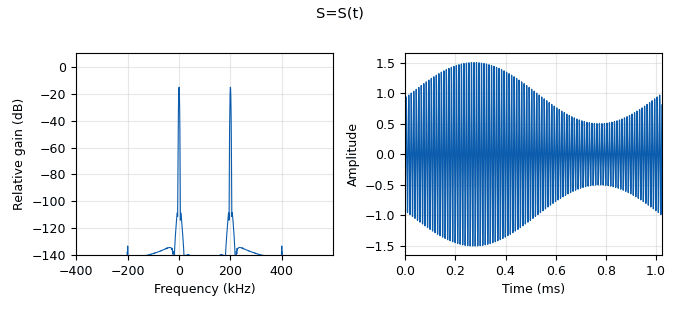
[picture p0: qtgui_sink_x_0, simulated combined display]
options:
  parameters:
    generate_options: qt_gui
    id: projectTask1
    output_language: python
    title: Not titled yet
  states: {}

blocks:
- name: samp_rate
  id: variable
  parameters:
    value: 1e6
  states: {}
- name: analog_const_source_x_0
  id: analog_const_source_x
  parameters:
    const: '1'
    type: float
  states: {}
- name: analog_const_source_x_0_0
  id: analog_const_source_x
  parameters:
    const: '1'
    type: float
  states: {}
- name: analog_sig_source_x_0
  id: analog_sig_source_x
  parameters:
    amp: '0.5'
    freq: '1000'
    offset: '0'
    phase: '0'
    samp_rate: samp_rate
    type: float
    waveform: analog.GR_SIN_WAVE
  states: {}
- name: analog_sig_source_x_1
  id: analog_sig_source_x
  parameters:
    amp: '1'
    freq: 1e5
    offset: '0'
    phase: '0'
    samp_rate: samp_rate
    type: float
    waveform: analog.GR_COS_WAVE
  states: {}
- name: blocks_add_xx_0
  id: blocks_add_xx
  parameters:
    type: float
  states: {}
- name: blocks_float_to_complex_0
  id: blocks_float_to_complex
  parameters: {}
  states: {}
- name: blocks_multiply_xx_0
  id: blocks_multiply_xx
  parameters:
    type: float
  states: {}
- name: blocks_multiply_xx_0_0
  id: blocks_multiply_xx
  parameters:
    type: float
  states: {}
- name: iio_pluto_sink_0
  id: iio_pluto_sink
  parameters:
    attenuation1: '10.0'
    bandwidth: '20000000'
    buffer_size: '32768'
    cyclic: 'False'
    filter_source: '''Auto'''
    frequency: '100000000'
    samplerate: '1000000'
    type: fc32
  states: {}
- name: qtgui_sink_x_0
  id: qtgui_sink_x
  parameters:
    bw: samp_rate
    fc: 1e5
    fftsize: '1024'
    name: '"S=S(t)"'
    type: float
  states: {}

connections:
- [analog_const_source_x_0, '0', blocks_add_xx_0, '1']
- [analog_const_source_x_0_0, '0', blocks_multiply_xx_0_0, '1']
- [analog_sig_source_x_0, '0', blocks_multiply_xx_0_0, '0']
- [analog_sig_source_x_1, '0', blocks_multiply_xx_0, '1']
- [blocks_add_xx_0, '0', blocks_multiply_xx_0, '0']
- [blocks_float_to_complex_0, '0', iio_pluto_sink_0, '0']
- [blocks_multiply_xx_0, '0', blocks_float_to_complex_0, '0']
- [blocks_multiply_xx_0, '0', qtgui_sink_x_0, '0']
- [blocks_multiply_xx_0_0, '0', blocks_add_xx_0, '0']

metadata:
  file_format: 1
  grc_version: 3.10.10.0
